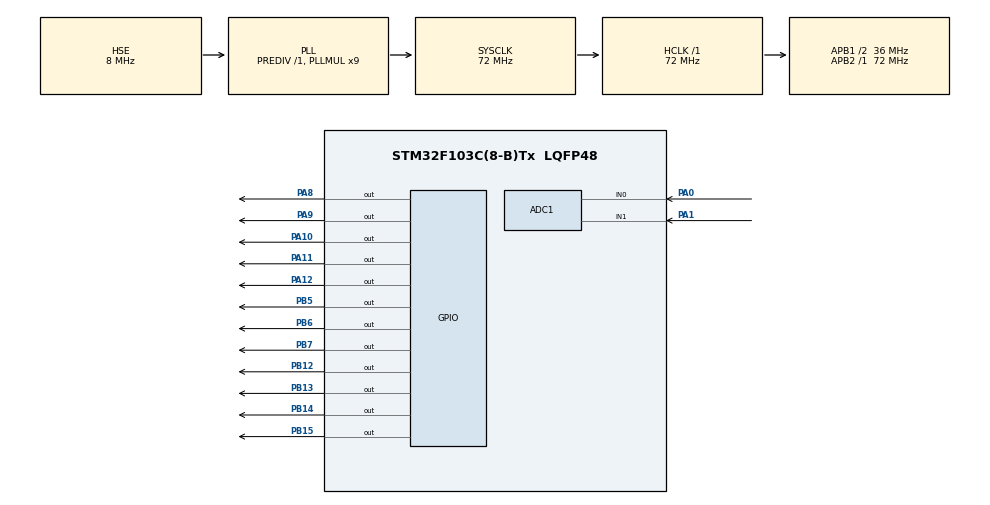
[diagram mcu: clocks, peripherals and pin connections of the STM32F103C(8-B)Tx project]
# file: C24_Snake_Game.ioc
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ADC1.Channel-0\#ChannelRegularConversion=ADC_CHANNEL_0
ADC1.Channel-1\#ChannelRegularConversion=ADC_CHANNEL_1
ADC1.ContinuousConvMode=ENABLE
ADC1.NbrOfConversion=2
ADC1.NbrOfConversionFlag=1
ADC1.Rank-0\#ChannelRegularConversion=1
ADC1.Rank-1\#ChannelRegularConversion=2
ADC1.SamplingTime-0\#ChannelRegularConversion=ADC_SAMPLETIME_239CYCLES_5
ADC1.SamplingTime-1\#ChannelRegularConversion=ADC_SAMPLETIME_239CYCLES_5
ADC1.master=1
Dma.ADC1.0.Direction=DMA_PERIPH_TO_MEMORY
Dma.ADC1.0.Instance=DMA1_Channel1
Dma.ADC1.0.MemDataAlignment=DMA_MDATAALIGN_HALFWORD
Dma.ADC1.0.MemInc=DMA_MINC_ENABLE
Dma.ADC1.0.Mode=DMA_CIRCULAR
Dma.ADC1.0.PeriphDataAlignment=DMA_PDATAALIGN_HALFWORD
Dma.ADC1.0.PeriphInc=DMA_PINC_DISABLE
Dma.ADC1.0.Priority=DMA_PRIORITY_LOW
Dma.Request0=ADC1
Mcu.Family=STM32F1
Mcu.Name=STM32F103C(8-B)Tx
Mcu.Package=LQFP48
NVIC.DMA1_Channel1_IRQn=true\:0\:0\:false\:false\:true\:false\:true\:true
NVIC.PriorityGroup=NVIC_PRIORITYGROUP_4
NVIC.TIM2_IRQn=true\:1\:0\:true\:false\:true\:true\:true\:true
PA0-WKUP.Signal=ADCx_IN0
PA1.Signal=ADCx_IN1
PA10.Signal=GPIO_Output
PA11.Signal=GPIO_Output
PA12.Signal=GPIO_Output
PA13.Mode=Serial_Wire
PA13.Signal=SYS_JTMS-SWDIO
PA14.Mode=Serial_Wire
PA14.Signal=SYS_JTCK-SWCLK
PA8.Signal=GPIO_Output
PA9.Signal=GPIO_Output
PB12.Signal=GPIO_Output
PB13.Signal=GPIO_Output
PB14.Signal=GPIO_Output
PB15.Signal=GPIO_Output
PB5.Signal=GPIO_Output
PB6.Signal=GPIO_Output
PB7.Signal=GPIO_Output
PD0-OSC_IN.Mode=HSE-External-Oscillator
PD0-OSC_IN.Signal=RCC_OSC_IN
PD1-OSC_OUT.Mode=HSE-External-Oscillator
PD1-OSC_OUT.Signal=RCC_OSC_OUT
ProjectManager.HeapSize=0x200
ProjectManager.StackSize=0x400
ProjectManager.TargetToolchain=STM32CubeIDE
RCC.ADCPresc=RCC_ADCPCLK2_DIV6
RCC.AHBFreq_Value=72000000
RCC.APB1CLKDivider=RCC_HCLK_DIV2
RCC.APB1Freq_Value=36000000
RCC.APB1TimFreq_Value=72000000
RCC.APB2Freq_Value=72000000
RCC.APB2TimFreq_Value=72000000
RCC.HCLKFreq_Value=72000000
RCC.PLLMUL=RCC_PLL_MUL9
RCC.PLLSourceVirtual=RCC_PLLSOURCE_HSE
RCC.SYSCLKFreq_VALUE=72000000
RCC.SYSCLKSource=RCC_SYSCLKSOURCE_PLLCLK
RCC.USBFreq_Value=72000000
SH.ADCx_IN0.0=ADC1_IN0,IN0
SH.ADCx_IN1.0=ADC1_IN1,IN1
TIM2.Period=719
TIM2.Prescaler=99
VP_TIM2_VS_ClockSourceINT.Mode=Internal
board=custom

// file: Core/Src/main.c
#include "main.h"

//Snake struct
typedef struct Snake
{
	int head[2];
	int body[192][2];
	int len;
	int direct[2];
} Snake;
///Khoi tao snake
Snake snake = {{3,10},{{3,5}, {3,6}, {3,7}, {3,8}, {3,9}, {3,10}}, 6, {0,1}};

//------------------------
typedef struct Apple
{
	int a_row;
	int a_col;
} Apple;
Apple apple;

//--------------------------
int sample[10][8] =
{
	  //dp,G,F,E,D,C,B,A
		{0,0,1,1,1,1,1,1}, 	//0
		{0,0,0,0,0,1,1,0},	//1
		{0,1,0,1,1,0,1,1},	//2
		{0,1,0,0,1,1,1,1},	//3
		{0,1,1,0,0,1,1,0},	//4
		{0,1,1,0,1,1,0,1},	//5
		{0,1,1,1,1,1,0,1},	//6
		{0,0,0,0,0,1,1,1},	//7
		{0,1,1,1,1,1,1,1},	//8
		{0,1,1,0,1,1,1,1}	//9
};
ADC_HandleTypeDef hadc1;
DMA_HandleTypeDef hdma_adc1;
TIM_HandleTypeDef htim2;

void SystemClock_Config(void);
static void MX_GPIO_Init(void);
static void MX_DMA_Init(void);
static void MX_ADC1_Init(void);
static void MX_TIM2_Init(void);

/* USER CODE BEGIN 0 */

void Display(int a[8][24]);
void Update_snake();
void Update_display();
void Display_score();
void Update_direct();
void Update_score();
void Create_apple();
void Reset();

int a[8][24];	//mang display

int score[4][8]={
		{0,1,1,1,1,1,1,1},
		{1,0,1,1,1,1,1,1},
		{1,1,0,1,1,1,1,1},
		{1,1,1,0,1,1,1,1}
};
// adc_value (haft word)
uint16_t adc_val[2];
double time=0;
int speed=300;
/* USER CODE END 0 */

int main(void)
{

  /* MCU Configuration--------------------------------------------------------*/

  /* Reset of all peripherals, Initializes the Flash interface and the Systick. */
  HAL_Init();

  /* Configure the system clock */
  SystemClock_Config();

  /* Initialize all configured peripherals */
  MX_GPIO_Init();
  MX_DMA_Init();
  MX_ADC1_Init();
  MX_TIM2_Init();
  /* USER CODE BEGIN 2 */
  HAL_ADC_Start_DMA(&hadc1, (uint32_t*) adc_val, 2);
  //HAL_TIM_Base_Start_IT(&htim2);
  /* USER CODE END 2 */

  /* Infinite loop */
  /* USER CODE BEGIN WHILE */
  Create_apple();
  while (1)
  {
    /* USER CODE END WHILE */

    /* USER CODE BEGIN 3 */
	  if (HAL_GetTick()-time>speed)
	  {
		  time = HAL_GetTick();
		  Update_direct();
		  Update_snake();
		  Update_score();
		  Update_display();
	  }
	  Display(a);
	  Display_score();
  }
  /* USER CODE END 3 */
}

void SystemClock_Config(void)
{
  RCC_OscInitTypeDef RCC_OscInitStruct = {0};
  RCC_ClkInitTypeDef RCC_ClkInitStruct = {0};
  RCC_PeriphCLKInitTypeDef PeriphClkInit = {0};

  /** Initializes the RCC Oscillators according to the specified parameters
  * in the RCC_OscInitTypeDef structure.
  */
  RCC_OscInitStruct.OscillatorType = RCC_OSCILLATORTYPE_HSE;
  RCC_OscInitStruct.HSEState = RCC_HSE_ON;
  RCC_OscInitStruct.HSEPredivValue = RCC_HSE_PREDIV_DIV1;
  RCC_OscInitStruct.HSIState = RCC_HSI_ON;
  RCC_OscInitStruct.PLL.PLLState = RCC_PLL_ON;
  RCC_OscInitStruct.PLL.PLLSource = RCC_PLLSOURCE_HSE;
  RCC_OscInitStruct.PLL.PLLMUL = RCC_PLL_MUL9;
  if (HAL_RCC_OscConfig(&RCC_OscInitStruct) != HAL_OK)
  {
    Error_Handler();
  }

  /** Initializes the CPU, AHB and APB buses clocks
  */
  RCC_ClkInitStruct.ClockType = RCC_CLOCKTYPE_HCLK|RCC_CLOCKTYPE_SYSCLK
                              |RCC_CLOCKTYPE_PCLK1|RCC_CLOCKTYPE_PCLK2;
  RCC_ClkInitStruct.SYSCLKSource = RCC_SYSCLKSOURCE_PLLCLK;
  RCC_ClkInitStruct.AHBCLKDivider = RCC_SYSCLK_DIV1;
  RCC_ClkInitStruct.APB1CLKDivider = RCC_HCLK_DIV2;
  RCC_ClkInitStruct.APB2CLKDivider = RCC_HCLK_DIV1;

  if (HAL_RCC_ClockConfig(&RCC_ClkInitStruct, FLASH_LATENCY_2) != HAL_OK)
  {
    Error_Handler();
  }
  PeriphClkInit.PeriphClockSelection = RCC_PERIPHCLK_ADC;
  PeriphClkInit.AdcClockSelection = RCC_ADCPCLK2_DIV6;
  if (HAL_RCCEx_PeriphCLKConfig(&PeriphClkInit) != HAL_OK)
  {
    Error_Handler();
  }
}

static void MX_ADC1_Init(void)
{

  ADC_ChannelConfTypeDef sConfig = {0};

  /** Common config
  */
  hadc1.Instance = ADC1;
  hadc1.Init.ScanConvMode = ADC_SCAN_ENABLE;
  hadc1.Init.ContinuousConvMode = ENABLE;
  hadc1.Init.DiscontinuousConvMode = DISABLE;
  hadc1.Init.ExternalTrigConv = ADC_SOFTWARE_START;
  hadc1.Init.DataAlign = ADC_DATAALIGN_RIGHT;
  hadc1.Init.NbrOfConversion = 2;
  if (HAL_ADC_Init(&hadc1) != HAL_OK)
  {
    Error_Handler();
  }

  /** Configure Regular Channel
  */
  sConfig.Channel = ADC_CHANNEL_0;
  sConfig.Rank = ADC_REGULAR_RANK_1;
  sConfig.SamplingTime = ADC_SAMPLETIME_239CYCLES_5;
  if (HAL_ADC_ConfigChannel(&hadc1, &sConfig) != HAL_OK)
  {
    Error_Handler();
  }

  /** Configure Regular Channel
  */
  sConfig.Channel = ADC_CHANNEL_1;
  sConfig.Rank = ADC_REGULAR_RANK_2;
  if (HAL_ADC_ConfigChannel(&hadc1, &sConfig) != HAL_OK)
  {
    Error_Handler();
  }

}

static void MX_TIM2_Init(void)
{

  TIM_ClockConfigTypeDef sClockSourceConfig = {0};
  TIM_MasterConfigTypeDef sMasterConfig = {0};

  htim2.Instance = TIM2;
  htim2.Init.Prescaler = 99;
  htim2.Init.CounterMode = TIM_COUNTERMODE_UP;
  htim2.Init.Period = 719;
  htim2.Init.ClockDivision = TIM_CLOCKDIVISION_DIV1;
  htim2.Init.AutoReloadPreload = TIM_AUTORELOAD_PRELOAD_DISABLE;
  if (HAL_TIM_Base_Init(&htim2) != HAL_OK)
  {
    Error_Handler();
  }
  sClockSourceConfig.ClockSource = TIM_CLOCKSOURCE_INTERNAL;
  if (HAL_TIM_ConfigClockSource(&htim2, &sClockSourceConfig) != HAL_OK)
  {
    Error_Handler();
  }
  sMasterConfig.MasterOutputTrigger = TIM_TRGO_RESET;
  sMasterConfig.MasterSlaveMode = TIM_MASTERSLAVEMODE_DISABLE;
  if (HAL_TIMEx_MasterConfigSynchronization(&htim2, &sMasterConfig) != HAL_OK)
  {
    Error_Handler();
  }

}

static void MX_DMA_Init(void)
{

  /* DMA controller clock enable */
  __HAL_RCC_DMA1_CLK_ENABLE();

  /* DMA interrupt init */
  /* DMA1_Channel1_IRQn interrupt configuration */
  HAL_NVIC_SetPriority(DMA1_Channel1_IRQn, 0, 0);
  HAL_NVIC_EnableIRQ(DMA1_Channel1_IRQn);

}

static void MX_GPIO_Init(void)
{
  GPIO_InitTypeDef GPIO_InitStruct = {0};

  /* GPIO Ports Clock Enable */
  __HAL_RCC_GPIOD_CLK_ENABLE();
  __HAL_RCC_GPIOA_CLK_ENABLE();
  __HAL_RCC_GPIOB_CLK_ENABLE();

  /*Configure GPIO pin Output Level */
  HAL_GPIO_WritePin(GPIOB, GPIO_PIN_12|GPIO_PIN_13|GPIO_PIN_14|GPIO_PIN_15
                          |GPIO_PIN_5|GPIO_PIN_6|GPIO_PIN_7, GPIO_PIN_RESET);

  /*Configure GPIO pin Output Level */
  HAL_GPIO_WritePin(GPIOA, GPIO_PIN_8|GPIO_PIN_9|GPIO_PIN_10|GPIO_PIN_11
                          |GPIO_PIN_12, GPIO_PIN_RESET);

  /*Configure GPIO pins : PB12 PB13 PB14 PB15
                           PB5 PB6 PB7 */
  GPIO_InitStruct.Pin = GPIO_PIN_12|GPIO_PIN_13|GPIO_PIN_14|GPIO_PIN_15
                          |GPIO_PIN_5|GPIO_PIN_6|GPIO_PIN_7;
  GPIO_InitStruct.Mode = GPIO_MODE_OUTPUT_PP;
  GPIO_InitStruct.Pull = GPIO_NOPULL;
  GPIO_InitStruct.Speed = GPIO_SPEED_FREQ_LOW;
  HAL_GPIO_Init(GPIOB, &GPIO_InitStruct);

  /*Configure GPIO pins : PA8 PA9 PA10 PA11
                           PA12 */
  GPIO_InitStruct.Pin = GPIO_PIN_8|GPIO_PIN_9|GPIO_PIN_10|GPIO_PIN_11
                          |GPIO_PIN_12;
  GPIO_InitStruct.Mode = GPIO_MODE_OUTPUT_PP;
  GPIO_InitStruct.Pull = GPIO_NOPULL;
  GPIO_InitStruct.Speed = GPIO_SPEED_FREQ_LOW;
  HAL_GPIO_Init(GPIOA, &GPIO_InitStruct);

}

/* USER CODE BEGIN 4 */
//Signal to display array (a)
void Display(int a[8][24])
{
	for (int i=0; i<24; i++)
	{
		for (int j=0; j<24; j++)
		{
			if (j==i)
				HAL_GPIO_WritePin(GPIOB, GPIO_PIN_12, 1);
			else
				HAL_GPIO_WritePin(GPIOB, GPIO_PIN_12, 0);
		  	HAL_GPIO_WritePin(GPIOB, GPIO_PIN_14, 1);
		  	HAL_GPIO_WritePin(GPIOB, GPIO_PIN_14, 0);
		  	HAL_GPIO_WritePin(GPIOB, GPIO_PIN_15, 1);
		  	HAL_GPIO_WritePin(GPIOB, GPIO_PIN_15, 0);
		  	HAL_GPIO_WritePin(GPIOB, GPIO_PIN_13, 1);
		  	HAL_GPIO_WritePin(GPIOB, GPIO_PIN_13, 0);
		}

		for (int j=0; j<8; j++)
		{
			HAL_GPIO_WritePin(GPIOB, GPIO_PIN_5, !a[j][i]);
			HAL_GPIO_WritePin(GPIOB, GPIO_PIN_6, 1);
			HAL_GPIO_WritePin(GPIOB, GPIO_PIN_6, 0);
		}
		//latch chung
		HAL_GPIO_WritePin(GPIOB, GPIO_PIN_7, 1);
		HAL_GPIO_WritePin(GPIOB, GPIO_PIN_7, 0);
	}
};

void Display_score()
{
	for (int i=0; i<4; i++)
	{
		for (int j=0; j<8; j++)
		{
			HAL_GPIO_WritePin(GPIOA, GPIO_PIN_8, score[i][j]);
			HAL_GPIO_WritePin(GPIOA, GPIO_PIN_9, 1);
			HAL_GPIO_WritePin(GPIOA, GPIO_PIN_9, 0);
		}
		for (int j=0; j<8; j++)
		{
			if (j==i)
				HAL_GPIO_WritePin(GPIOA, GPIO_PIN_10, 0);
			else
				HAL_GPIO_WritePin(GPIOA, GPIO_PIN_10, 1);
			HAL_GPIO_WritePin(GPIOA, GPIO_PIN_11, 1);
			HAL_GPIO_WritePin(GPIOA, GPIO_PIN_11, 0);
		}
		HAL_GPIO_WritePin(GPIOA, GPIO_PIN_12, 1);
		HAL_GPIO_WritePin(GPIOA, GPIO_PIN_12, 0);
	}
}
//Update the snake position
void Update_snake()
{
	//calculate the new head position
	int newHead[2]={snake.head[0]+snake.direct[0], snake.head[1]+snake.direct[1]};
	if(newHead[0]==8)
	    newHead[0]=0;
	if(newHead[0]==-1)
		newHead[0] = 7;
	if(newHead[1]==24)
	    newHead[1]=0;
	if(newHead[1]==-1)
	    newHead[1]=23;

	//Check If The Snake hits itself
	for(int j=0;j<snake.len;j++){
		if(snake.body[j][0] == newHead[0] && snake.body[j][1] == newHead[1]){
			Reset();
			HAL_Delay(1000);
			snake.head[0]=3;
			snake.head[1]=10;
			snake.body[0][0]=3;
			snake.body[0][1]=5;
			snake.body[1][0]=3;
			snake.body[1][1]=6;
			snake.body[2][0]=3;
			snake.body[2][1]=7;
			snake.body[3][0]=3;
			snake.body[3][1]=8;
			snake.body[4][0]=3;
			snake.body[4][1]=9;
			snake.body[5][0]=3;
			snake.body[5][1]=10;
			snake.len = 6;
			snake.direct[0]=0;
			snake.direct[1]=1;
			speed=300;
			return;
	    }
	  }

	//Check snake eat apple?
	if(newHead[0]==apple.a_row && newHead[1]==apple.a_col)
		{
		snake.len+=1;
		speed=420-snake.len*20;
		Create_apple();
		}
	else
	//Shift the snake
	for(int j=1;j<snake.len;j++)
	{
	    snake.body[j-1][0] = snake.body[j][0];
	    snake.body[j-1][1] = snake.body[j][1];
	}

	//Change the first body
	snake.body[snake.len-1][0]= newHead[0];
	snake.body[snake.len-1][1]= newHead[1];

	//Change Head position
	snake.head[0] = newHead[0];
	snake.head[1] = newHead[1];

};

//Update the display for snake and apple
void Update_display()
{
	Reset();
	for (int i=0; i<snake.len; i++)
		a[snake.body[i][0]][snake.body[i][1]]=1;
	a[apple.a_row][apple.a_col]=1;
}

//Update direct base on signal from joystick
void Update_direct()
{
	if(adc_val[0]>3200 && snake.direct[1]!=-1) {snake.direct[0]=0; snake.direct[1]=1;}	//not change to opposite direction
	else if(adc_val[0]<800 && snake.direct[1]!=1) {snake.direct[0]=0; snake.direct[1]=-1;}
	else if(adc_val[1]<800 && snake.direct[0]!=1) {snake.direct[0]=-1; snake.direct[1]=0;}
	else if(adc_val[1]>3200 && snake.direct[0]!=-1) {snake.direct[0]=1; snake.direct[1]=0;}
}

// create an apple base on system time
void Create_apple()
{
	a[apple.a_row][apple.a_col]=0;	//delete current apple
	do
	{
		apple.a_col= HAL_GetTick();
		apple.a_col=apple.a_col%24;
		apple.a_row= HAL_GetTick();
		apple.a_row=apple.a_col%8;
	}
	while (a[apple.a_row][apple.a_col]==1);	//create new apple
	a[apple.a_row][apple.a_col]=1;
}

// Reset the display array to 0
void Reset()
{
	for (int i=0; i<8; i++)
		for (int j=0; j<24; j++)
			a[i][j]=0;
}

void Update_score()
{
	int digit[4];
	digit[0]=snake.len%10;
	digit[1]=(snake.len/10)%10;
	digit[2]=(snake.len/100)%10;
	digit[3]=(snake.len/1000)%10;
	for (int i=0; i<4;i++)
		for (int j=0;j<8;j++)
		{
			score[i][j]=sample[digit[i]][j];
		}
}
/* USER CODE END 4 */

void Error_Handler(void)
{
  __disable_irq();
  while (1)
  {
  }
}
